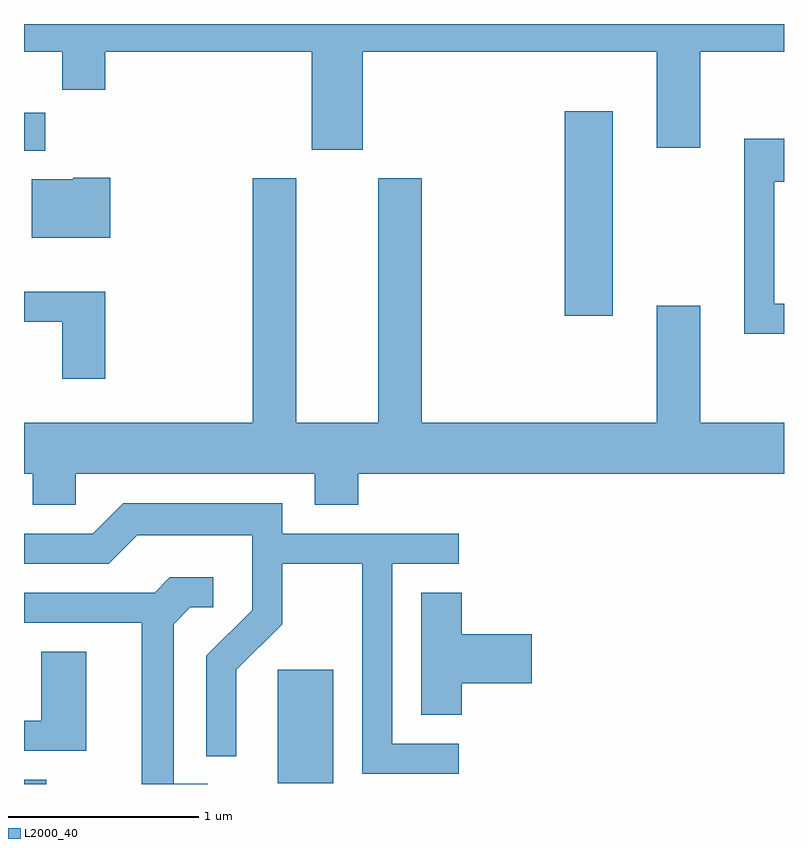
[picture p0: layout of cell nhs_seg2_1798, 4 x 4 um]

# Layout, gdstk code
import gdstk
lib = gdstk.Library(unit=1e-6, precision=1e-09)
def R(c, l, rs):  # rectangles x0, y0, x1, y1
    for r in rs: c.add(gdstk.rectangle(r[:2], r[2:], *l))
def P(c, l, *ps):  # polygons
    for p in ps: c.add(gdstk.Polygon(p, *l))
L2000_40 = (2000, 40)

nhs_seg2_1798 = lib.new_cell('nhs_seg2_1798')
R(nhs_seg2_1798, L2000_40, [(237.611,1037.802,237.729,1037.824), (238.946,1037.806,239.239,1038.404), (240.456,1040.266,240.709,1041.344), (237.611,1041.136,237.724,1041.334)])
P(nhs_seg2_1798, L2000_40, [(239.394,1041.656),(240.941,1041.656),(240.941,1041.151),(241.169,1041.151),(241.169,1041.656),(241.611,1041.656),(241.611,1041.802),(237.611,1041.802),(237.611,1041.656),(237.811,1041.656),(237.811,1041.456),(238.039,1041.456),(238.039,1041.656),(239.126,1041.656),(239.126,1041.141),(239.394,1041.141)],
  [(241.611,1040.329),(241.559,1040.329),(241.559,1040.971),(241.611,1040.971),(241.611,1041.199),(241.401,1041.199),(241.401,1040.171),(241.611,1040.171)],
  [(238.064,1040.994),(237.87,1040.994),(237.87,1040.984),(237.651,1040.984),(237.651,1040.676),(238.064,1040.676)],
  [(237.884,1039.436),(239.141,1039.436),(239.141,1039.271),(239.369,1039.271),(239.369,1039.436),(241.611,1039.436),(241.611,1039.704),(241.169,1039.704),(241.169,1040.319),(240.941,1040.319),(240.941,1039.704),(239.704,1039.704),(239.704,1040.989),(239.476,1040.989),(239.476,1039.704),(239.044,1039.704),(239.044,1040.989),(238.816,1040.989),(238.816,1039.704),(237.611,1039.704),(237.611,1039.436),(237.656,1039.436),(237.656,1039.271),(237.884,1039.271)],
  [(238.039,1040.394),(237.611,1040.394),(237.611,1040.236),(237.811,1040.236),(237.811,1039.936),(238.039,1039.936)],
  [(239.898,1038.014),(239.549,1038.014),(239.549,1038.961),(239.898,1038.961),(239.898,1039.119),(238.969,1039.119),(238.969,1039.279),(238.134,1039.279),(237.974,1039.119),(237.611,1039.119),(237.611,1038.961),(238.057,1038.961),(238.207,1039.111),(238.811,1039.111),(238.811,1038.717),(238.571,1038.477),(238.571,1037.948),(238.729,1037.948),(238.729,1038.404),(238.969,1038.644),(238.969,1038.961),(239.391,1038.961),(239.391,1037.856),(239.898,1037.856)],
  [(238.578,1037.804),(238.399,1037.804),(238.399,1038.644),(238.487,1038.731),(238.608,1038.731),(238.608,1038.889),(238.379,1038.889),(238.299,1038.809),(237.611,1038.809),(237.611,1038.651),(238.231,1038.651),(238.231,1037.802),(238.578,1037.802)],
  [(239.914,1038.331),(240.284,1038.331),(240.284,1038.589),(239.914,1038.589),(239.914,1038.809),(239.701,1038.809),(239.701,1038.166),(239.914,1038.166)],
  [(237.939,1038.499),(237.701,1038.499),(237.701,1038.134),(237.611,1038.134),(237.611,1037.976),(237.939,1037.976)])

lib.write_gds('nhs_seg2_1798.gds')
